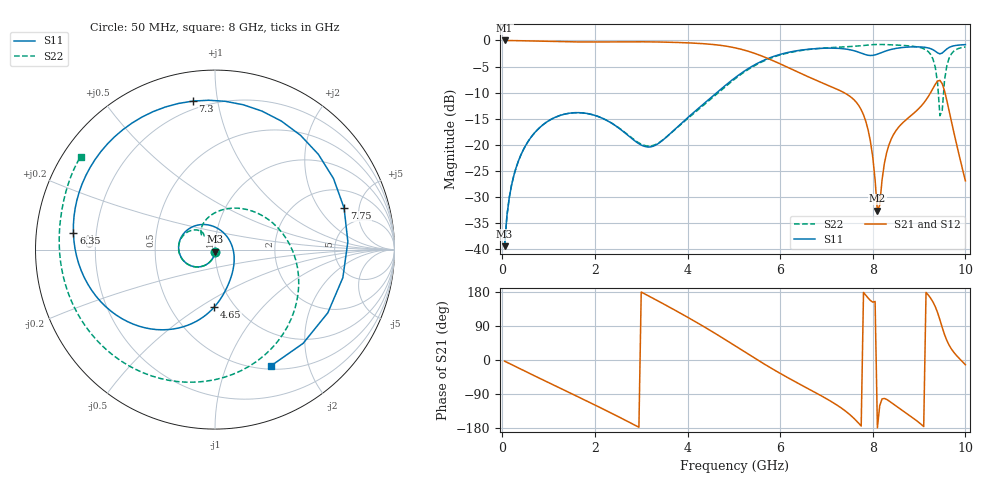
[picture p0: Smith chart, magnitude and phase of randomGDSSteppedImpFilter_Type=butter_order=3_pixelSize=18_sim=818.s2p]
! freq	dB(S11)	phase(S11)	dB(S12)	phase(S12)
!  dB(S21)	phase(S21)	dB(S22)	phase(S22)
!S-par simulation data
#  GHz  S  DB  R 50
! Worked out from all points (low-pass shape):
!   200 points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, 50 MHz to 10 GHz, reference 50 ohm
!   highest |S21| = -0.01 dB at 50 MHz (marker M1); lowest = -32.6 dB at 8.1 GHz (marker M2)
!   |S21| within 3 dB of the highest: start of sweep to 5.611 GHz
!   lowest |S11| = -39.4 dB at 50 MHz (marker M3), VSWR 1.02, Z = 50 - j1.07 ohm
!   |S11| at or under -10 dB: start of sweep to 4.631 GHz
!   |S22| runs from -39.4 to -0.8 dB; largest |S21 - S12| = 0
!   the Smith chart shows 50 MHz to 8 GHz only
!   S11 on the Smith chart (normalised r, x): 50 MHz: 1.00, -0.02; 4.65 GHz: 0.81, -0.58; 6.35 GHz: 0.11, +0.06; 7.3 GHz: 0.15, +0.85; 7.75 GHz: 3.24, +3.50; 8 GHz: 0.54, -1.45
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0.05  -39.39 -89.0  -0.01 -3.1  -0.01 -3.1  -39.39 -89.0
0.2  -27.71 -101.6  -0.03 -12.1  -0.03 -12.1  -27.71 -101.7
0.5  -20.19 -120.5  -0.08 -30.1  -0.08 -30.1  -20.19 -120.6
1.75  -13.89 163.6  -0.30 -103.9  -0.30 -103.9  -13.90 167.4
2.65  -17.72 94.2  -0.27 -158.5  -0.27 -158.5  -17.64 128.2
3.4  -19.56 -8.7  -0.31 153.3  -0.31 153.3  -19.47 133.1
4.05  -14.42 -64.0  -0.49 109.5  -0.49 109.5  -14.61 100.4
4.65  -9.86 -90.9  -0.88 66.2  -0.88 66.2  -10.10 40.3
5.05  -6.99 -109.7  -1.47 35.7  -1.47 35.7  -7.19 -2.2
5.55  -4.21 -137.6  -2.80 -2.7  -2.80 -2.7  -4.36 -51.5
6.35  -2.00 173.3  -5.93 -59.0  -5.93 -59.0  -2.08 -116.4
6.7  -1.62 150.1  -7.33 -82.0  -7.33 -82.0  -1.66 -139.9
7.3  -1.55 98.5  -9.65 -125.0  -9.65 -125.0  -1.28 -175.6
7.75  -2.43 17.9  -13.27 -174.4  -13.27 -174.4  -1.02 159.8
8  -2.87 -64.3  -22.37 152.6  -22.37 152.6  -0.81 145.3
8.1  -2.63 -97.6  -32.62 -179.1  -32.62 -179.1  -0.78 139.2
8.35  -1.84 -158.5  -19.98 -108.0  -19.98 -108.0  -0.83 123.8
9.1  -1.30 120.5  -11.99 -175.7  -11.99 -175.7  -1.60 67.9
9.35  -2.07 104.3  -8.40 140.7  -8.40 140.7  -5.14 17.9
9.45  -2.58 103.5  -7.66 106.0  -7.66 106.0  -14.42 -54.7
9.6  -1.63 101.7  -11.53 51.3  -11.53 51.3  -4.80 134.9
10  -0.81 78.4  -26.88 -12.5  -26.88 -12.5  -1.26 71.1
